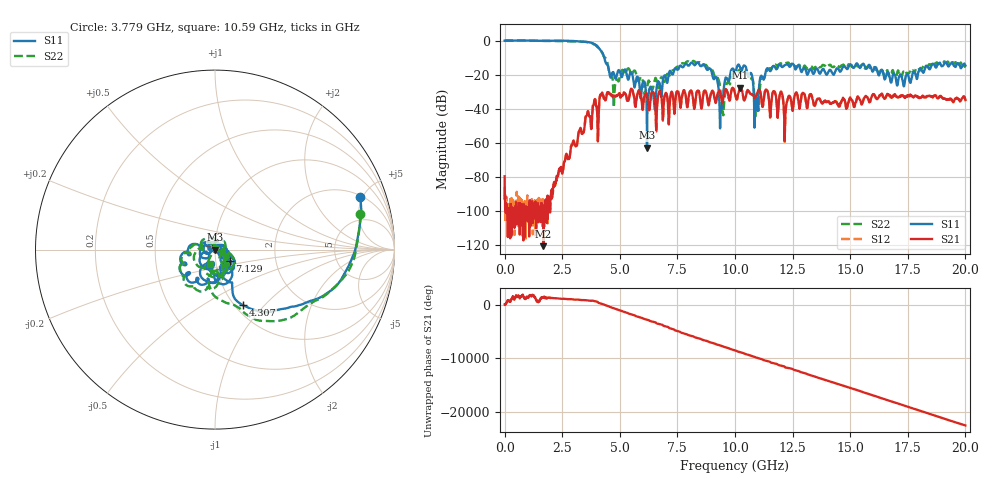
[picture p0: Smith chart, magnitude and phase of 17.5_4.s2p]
#  HZ  S  RI  R  50.00
! Rohde & Schwarz Vector Network Analyzer
! Rohde-Schwarz,ZNB20-2Port,1311601062102128,3.60
! Created: UTC 4/29/2024, 2:58:50 PM
! freq[Hz]  re:S11  im:S11  re:S21  im:S21  re:S12  im:S12  re:S22  im:S22
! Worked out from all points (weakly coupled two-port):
!   2007 points, 100 kHz to 20 GHz, reference 50 ohm
!   highest |S21| = -27.63 dB at 10.23 GHz (marker M1); lowest = -120.4 dB at 1.685 GHz (marker M2)
!   lowest |S11| = -62.8 dB at 6.182 GHz (marker M3), VSWR 1.00, Z = 50 - j0.0579 ohm
!   |S11| at or under -10 dB: 4.326 GHz to end of sweep
!   |S22| runs from -44.5 to 0.1 dB; largest |S21 - S12| = 0.0021
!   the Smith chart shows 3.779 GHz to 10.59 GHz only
!   S11 on the Smith chart (normalised r, x): 3.779 GHz: 2.08, +4.77; 4.307 GHz: 1.09, -0.76; 7.129 GHz: 1.17, -0.15; 10.59 GHz: 0.92, -0.16
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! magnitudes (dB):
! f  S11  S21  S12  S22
! 100 kHz  0.0  -79.5  -85.8  0.1
! 1.685 GHz  -0.1  -120.4  -101.6  -0.2
! 2.253 GHz  0.0  -79.9  -80.1  -0.3
! 3.34 GHz  -0.6  -53.9  -53.6  -0.6
! 3.779 GHz  -1.3  -49.8  -50.1  -1.6
! 4.307 GHz  -9.2  -33.7  -34.1  -9.2
! 4.776 GHz  -20.7  -32.5  -32.5  -28.8
! 5.354 GHz  -22.8  -35.3  -35.3  -16.4
! 6.182 GHz  -62.8  -32.0  -32.0  -27.4
! 6.67 GHz  -23.8  -32.0  -32.0  -27.2
! 7.129 GHz  -19.7  -49.1  -49.1  -20.6
! 8.654 GHz  -13.9  -29.6  -29.6  -14.3
! 9.192 GHz  -21.6  -34.6  -34.6  -22.5
! 9.402 GHz  -40.1  -33.3  -33.3  -36.4
! 10 GHz  -18.8  -31.1  -31.1  -19.3
! 10.23 GHz  -15.8  -27.6  -27.6  -16.8
! 10.59 GHz  -20.6  -29.6  -29.6  -21.6
! 10.92 GHz  -33.5  -32.5  -32.5  -34.4
! 11.42 GHz  -16.3  -29.9  -29.9  -16.8
! 13.34 GHz  -18.0  -32.8  -32.8  -15.3
! 16.67 GHz  -19.1  -31.7  -31.8  -20.5
! 20 GHz  -14.6  -34.8  -34.8  -14.4
